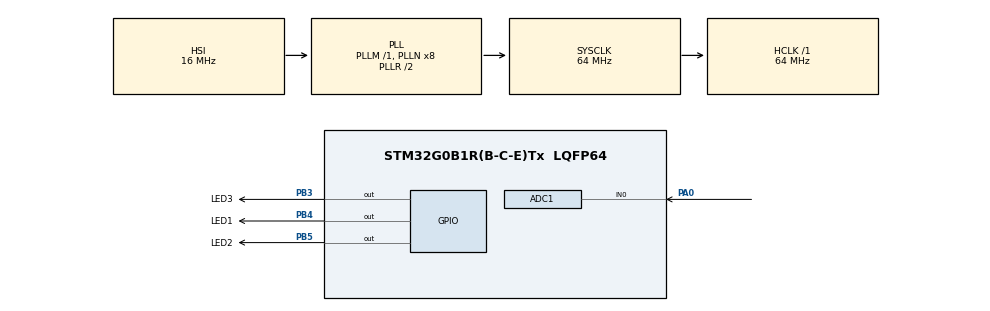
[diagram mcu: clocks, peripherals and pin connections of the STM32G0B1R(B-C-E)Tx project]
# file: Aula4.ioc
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ADC1.Channel-1\#ChannelRegularConversion=ADC_CHANNEL_0
ADC1.NbrOfConversion=1
ADC1.NbrOfConversionFlag=1
ADC1.Rank-1\#ChannelRegularConversion=1
ADC1.SamplingTime-1\#ChannelRegularConversion=ADC_SAMPLINGTIME_COMMON_1
ADC1.SamplingTimeCommon1=ADC_SAMPLETIME_39CYCLES_5
ADC1.SamplingTimeCommon2=ADC_SAMPLETIME_39CYCLES_5
ADC1.SelectedChannel=ADC_CHANNEL_0
ADC1.Sequencer=FULLY_CONFIGURABLE
ADC1.master=1
Dma.ADC1.0.Direction=DMA_PERIPH_TO_MEMORY
Dma.ADC1.0.EventEnable=DISABLE
Dma.ADC1.0.Instance=DMA1_Channel1
Dma.ADC1.0.MemDataAlignment=DMA_MDATAALIGN_HALFWORD
Dma.ADC1.0.MemInc=DMA_MINC_ENABLE
Dma.ADC1.0.Mode=DMA_CIRCULAR
Dma.ADC1.0.PeriphDataAlignment=DMA_PDATAALIGN_HALFWORD
Dma.ADC1.0.PeriphInc=DMA_PINC_DISABLE
Dma.ADC1.0.Polarity=HAL_DMAMUX_REQ_GEN_RISING
Dma.ADC1.0.Priority=DMA_PRIORITY_LOW
Dma.ADC1.0.RequestNumber=1
Dma.ADC1.0.SignalID=NONE
Dma.ADC1.0.SyncEnable=DISABLE
Dma.ADC1.0.SyncPolarity=HAL_DMAMUX_SYNC_NO_EVENT
Dma.ADC1.0.SyncRequestNumber=1
Dma.ADC1.0.SyncSignalID=NONE
Dma.Request0=ADC1
Mcu.Family=STM32G0
Mcu.Name=STM32G0B1R(B-C-E)Tx
Mcu.Package=LQFP64
NVIC.ADC1_COMP_IRQn=true\:0\:0\:false\:false\:true\:true\:true
NVIC.DMA1_Channel1_IRQn=true\:0\:0\:false\:false\:true\:false\:true
PA0.Mode=IN0
PA0.Signal=ADC1_IN0
PA13.Mode=Serial_Wire
PA13.Signal=SYS_SWDIO
PA14-BOOT0.Mode=Serial_Wire
PA14-BOOT0.Signal=SYS_SWCLK
PB3.GPIO_Label=LED3
PB3.Signal=GPIO_Output
PB4.GPIO_Label=LED1
PB4.Signal=GPIO_Output
PB5.GPIO_Label=LED2
PB5.Signal=GPIO_Output
ProjectManager.HeapSize=0x200
ProjectManager.StackSize=0x400
ProjectManager.TargetToolchain=STM32CubeIDE
RCC.ADCFreq_Value=64000000
RCC.AHBFreq_Value=64000000
RCC.CortexFreq_Value=64000000
RCC.EXTERNAL_CLOCK_VALUE=48000
RCC.HCLKFreq_Value=64000000
RCC.HSE_VALUE=8000000
RCC.HSI48_VALUE=48000000
RCC.HSI_VALUE=16000000
RCC.LSE_VALUE=32768
RCC.SYSCLKFreq_VALUE=64000000
RCC.SYSCLKSource=RCC_SYSCLKSOURCE_PLLCLK
RCC.USBFreq_Value=48000000
RCC.VCOOutputFreq_Value=128000000
VP_SYS_VS_DBSignals.Mode=DisableDeadBatterySignals
board=custom

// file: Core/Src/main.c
/* USER CODE BEGIN Header */
/**
  ******************************************************************************
  * @file           : main.c
  * @brief          : Main program body
  ******************************************************************************
  * @attention
  *
  * Copyright (c) 2022 STMicroelectronics.
  * All rights reserved.
  *
  * This software is licensed under terms that can be found in the LICENSE file
  * in the root directory of this software component.
  * If no LICENSE file comes with this software, it is provided AS-IS.
  *
  ******************************************************************************
  */
/* USER CODE END Header */
#include "main.h"

/* USER CODE BEGIN Includes */
#include<stdint.h>
/* USER CODE END Includes */

ADC_HandleTypeDef hadc1;
DMA_HandleTypeDef hdma_adc1;

void SystemClock_Config(void);
static void MX_GPIO_Init(void);
static void MX_ADC1_Init(void);
static void MX_DMA_Init(void);

/* USER CODE BEGIN 0 */
uint16_t pot;
float tensao;
/* USER CODE END 0 */

int main(void)
{

  /* MCU Configuration--------------------------------------------------------*/

  /* Reset of all peripherals, Initializes the Flash interface and the Systick. */
  HAL_Init();

  /* Configure the system clock */
  SystemClock_Config();

  /* Initialize all configured peripherals */
  MX_GPIO_Init();
  MX_ADC1_Init();
  MX_DMA_Init();

  /* Infinite loop */
  /* USER CODE BEGIN WHILE */
  while (1)
  {
	  // start ADC Conversion
	  HAL_ADC_Start(&hadc1);

	  // waits for the end of conversion
	  HAL_ADC_PollForConversion(&hadc1, 100);

	  //gets value from ADC result register
	  pot = HAL_ADC_GetValue(&hadc1);
	  tensao = pot * 0.000805861;

	  if (tensao <= 1){
		  HAL_GPIO_WritePin(LED3_GPIO_Port,LED3_Pin,1);
		  HAL_GPIO_WritePin(LED2_GPIO_Port,LED2_Pin,0);
		  HAL_GPIO_WritePin(LED1_GPIO_Port,LED1_Pin,0);
	  }
	  else if (tensao > 1 && tensao < 3) {
		 HAL_GPIO_WritePin(LED2_GPIO_Port,LED2_Pin,1);
		 HAL_GPIO_WritePin(LED3_GPIO_Port,LED3_Pin,0);
		 HAL_GPIO_WritePin(LED1_GPIO_Port,LED1_Pin,0);
	  }
	  else {
		  HAL_GPIO_WritePin(LED1_GPIO_Port,LED1_Pin,1);
		  HAL_GPIO_WritePin(LED2_GPIO_Port,LED2_Pin,0);
		  HAL_GPIO_WritePin(LED3_GPIO_Port,LED3_Pin,0);
  }

    /* USER CODE END WHILE */

  }
}

void SystemClock_Config(void)
{
  RCC_OscInitTypeDef RCC_OscInitStruct = {0};
  RCC_ClkInitTypeDef RCC_ClkInitStruct = {0};

  /** Configure the main internal regulator output voltage
  */
  HAL_PWREx_ControlVoltageScaling(PWR_REGULATOR_VOLTAGE_SCALE1);
  /** Initializes the RCC Oscillators according to the specified parameters
  * in the RCC_OscInitTypeDef structure.
  */
  RCC_OscInitStruct.OscillatorType = RCC_OSCILLATORTYPE_HSI;
  RCC_OscInitStruct.HSIState = RCC_HSI_ON;
  RCC_OscInitStruct.HSIDiv = RCC_HSI_DIV1;
  RCC_OscInitStruct.HSICalibrationValue = RCC_HSICALIBRATION_DEFAULT;
  RCC_OscInitStruct.PLL.PLLState = RCC_PLL_ON;
  RCC_OscInitStruct.PLL.PLLSource = RCC_PLLSOURCE_HSI;
  RCC_OscInitStruct.PLL.PLLM = RCC_PLLM_DIV1;
  RCC_OscInitStruct.PLL.PLLN = 8;
  RCC_OscInitStruct.PLL.PLLP = RCC_PLLP_DIV2;
  RCC_OscInitStruct.PLL.PLLQ = RCC_PLLQ_DIV2;
  RCC_OscInitStruct.PLL.PLLR = RCC_PLLR_DIV2;
  if (HAL_RCC_OscConfig(&RCC_OscInitStruct) != HAL_OK)
  {
    Error_Handler();
  }
  /** Initializes the CPU, AHB and APB buses clocks
  */
  RCC_ClkInitStruct.ClockType = RCC_CLOCKTYPE_HCLK|RCC_CLOCKTYPE_SYSCLK
                              |RCC_CLOCKTYPE_PCLK1;
  RCC_ClkInitStruct.SYSCLKSource = RCC_SYSCLKSOURCE_PLLCLK;
  RCC_ClkInitStruct.AHBCLKDivider = RCC_SYSCLK_DIV1;
  RCC_ClkInitStruct.APB1CLKDivider = RCC_HCLK_DIV1;

  if (HAL_RCC_ClockConfig(&RCC_ClkInitStruct, FLASH_LATENCY_2) != HAL_OK)
  {
    Error_Handler();
  }
}

static void MX_ADC1_Init(void)
{

  ADC_ChannelConfTypeDef sConfig = {0};

  /** Configure the global features of the ADC (Clock, Resolution, Data Alignment and number of conversion)
  */
  hadc1.Instance = ADC1;
  hadc1.Init.ClockPrescaler = ADC_CLOCK_SYNC_PCLK_DIV2;
  hadc1.Init.Resolution = ADC_RESOLUTION_12B;
  hadc1.Init.DataAlign = ADC_DATAALIGN_RIGHT;
  hadc1.Init.ScanConvMode = ADC_SCAN_DISABLE;
  hadc1.Init.EOCSelection = ADC_EOC_SINGLE_CONV;
  hadc1.Init.LowPowerAutoWait = DISABLE;
  hadc1.Init.LowPowerAutoPowerOff = DISABLE;
  hadc1.Init.ContinuousConvMode = DISABLE;
  hadc1.Init.NbrOfConversion = 1;
  hadc1.Init.DiscontinuousConvMode = DISABLE;
  hadc1.Init.ExternalTrigConv = ADC_SOFTWARE_START;
  hadc1.Init.ExternalTrigConvEdge = ADC_EXTERNALTRIGCONVEDGE_NONE;
  hadc1.Init.DMAContinuousRequests = DISABLE;
  hadc1.Init.Overrun = ADC_OVR_DATA_PRESERVED;
  hadc1.Init.SamplingTimeCommon1 = ADC_SAMPLETIME_39CYCLES_5;
  hadc1.Init.SamplingTimeCommon2 = ADC_SAMPLETIME_39CYCLES_5;
  hadc1.Init.OversamplingMode = DISABLE;
  hadc1.Init.TriggerFrequencyMode = ADC_TRIGGER_FREQ_HIGH;
  if (HAL_ADC_Init(&hadc1) != HAL_OK)
  {
    Error_Handler();
  }
  /** Configure Regular Channel
  */
  sConfig.Channel = ADC_CHANNEL_0;
  sConfig.Rank = ADC_REGULAR_RANK_1;
  sConfig.SamplingTime = ADC_SAMPLINGTIME_COMMON_1;
  if (HAL_ADC_ConfigChannel(&hadc1, &sConfig) != HAL_OK)
  {
    Error_Handler();
  }

}

static void MX_DMA_Init(void)
{

  /* DMA controller clock enable */
  __HAL_RCC_DMA1_CLK_ENABLE();

  /* DMA interrupt init */
  /* DMA1_Channel1_IRQn interrupt configuration */
  HAL_NVIC_SetPriority(DMA1_Channel1_IRQn, 0, 0);
  HAL_NVIC_EnableIRQ(DMA1_Channel1_IRQn);

}

static void MX_GPIO_Init(void)
{
  GPIO_InitTypeDef GPIO_InitStruct = {0};

  /* GPIO Ports Clock Enable */
  __HAL_RCC_GPIOA_CLK_ENABLE();
  __HAL_RCC_GPIOB_CLK_ENABLE();

  /*Configure GPIO pin Output Level */
  HAL_GPIO_WritePin(GPIOB, LED3_Pin|LED1_Pin|LED2_Pin, GPIO_PIN_RESET);

  /*Configure GPIO pins : LED3_Pin LED1_Pin LED2_Pin */
  GPIO_InitStruct.Pin = LED3_Pin|LED1_Pin|LED2_Pin;
  GPIO_InitStruct.Mode = GPIO_MODE_OUTPUT_PP;
  GPIO_InitStruct.Pull = GPIO_NOPULL;
  GPIO_InitStruct.Speed = GPIO_SPEED_FREQ_LOW;
  HAL_GPIO_Init(GPIOB, &GPIO_InitStruct);

}

void Error_Handler(void)
{
  __disable_irq();
  while (1)
  {
  }
}
